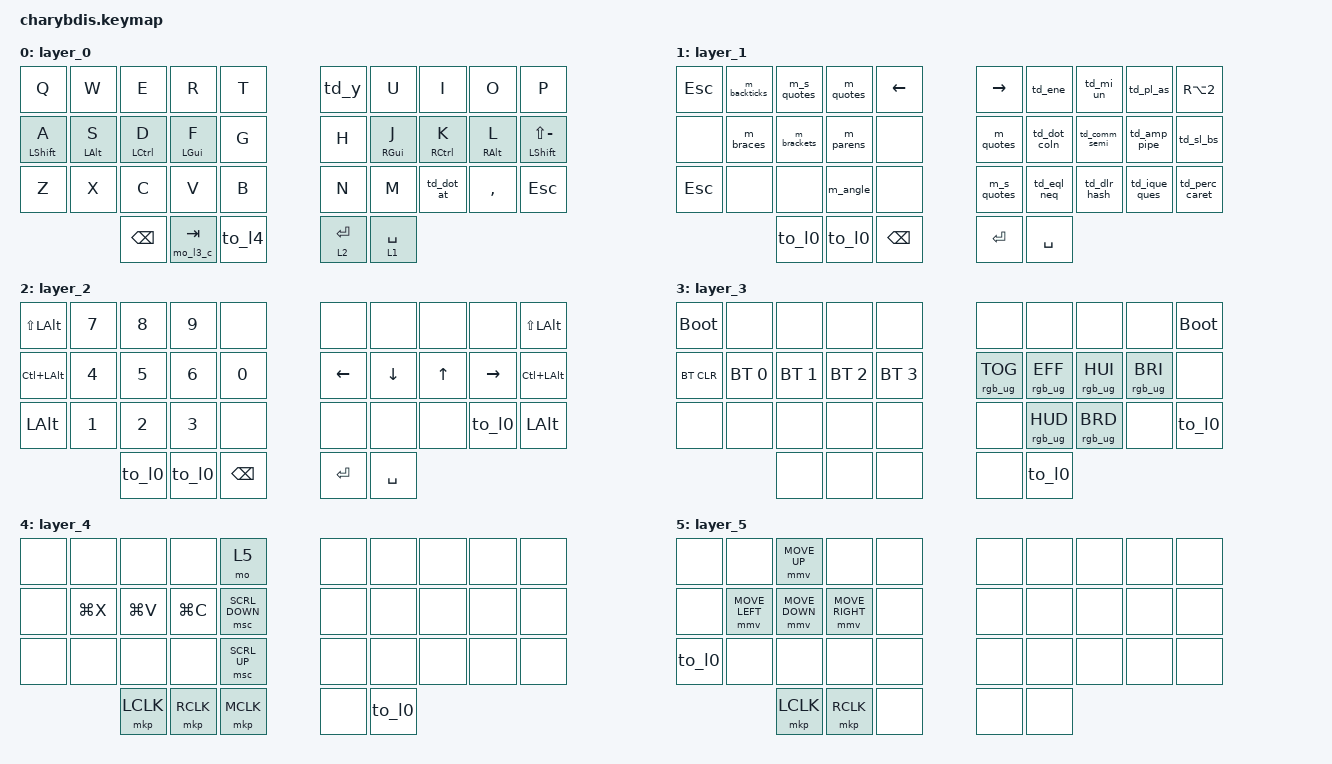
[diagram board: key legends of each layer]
#include <behaviors.dtsi>
#include <dt-bindings/zmk/bt.h>
#include <dt-bindings/zmk/keys.h>
#include <dt-bindings/zmk/rgb.h>
#include <dt-bindings/zmk/mouse.h>

/* --- COLORES --- */
#define LILA      280
#define AZUL      240
#define ROJO      0
#define AMARILLO  60
#define VERDE     120

/* --- DEFINICIONES MAC ESPAÑOL --- */
#define ES_CARET  LS(LBKT)
#define ES_PERC   LS(N5)
#define ES_TILDE  RA(SEMI)
#define ES_ACUTE  SQT
#define ES_AT     RA(N2)
#define ES_SEMI   LS(COMMA)
#define ES_EQL    LS(N0)
#define ES_PIPE   RA(N1)
#define ES_SLSH   LS(N7)
#define ES_UNDS   LS(SLASH)
#define ES_HASH   RA(N3)
#define ES_EXCL   LS(N1)
#define ES_COLN   LS(DOT)
#define ES_DOT    DOT
#define ES_COMM   COMMA
#define ES_AMPS   LS(N6)
#define ES_MINS   SLASH
#define ES_PLUS   RBKT
#define ES_ASTR   LS(RBKT)
#define ES_LPAR   LS(N8)
#define ES_RPAR   LS(N9)
#define ES_LABK   GRAVE
#define ES_RABK   LS(GRAVE)
#define ES_QUES   LS(MINUS)
#define ES_BSLH   RA(LS(N7))
#define ES_DLR    LS(N4)
#define ES_IQUE   LS(EQUAL)

/ {
    macros {
        to_l1: to_l1 {
            compatible = "zmk,behavior-macro";
            #binding-cells = <0>;
            bindings
                = <&macro_tap>, <&to 1>
                , <&macro_wait_time 30>
                , <&macro_tap>, <&rgb_ug RGB_COLOR_HSB(AZUL,100,50)>;
        };

        to_l2: to_l2 {
            compatible = "zmk,behavior-macro";
            #binding-cells = <0>;
            bindings
                = <&macro_tap>, <&to 2>
                , <&macro_wait_time 30>
                , <&macro_tap>, <&rgb_ug RGB_COLOR_HSB(ROJO,100,50)>;
        };

        to_l3: to_l3 {
            compatible = "zmk,behavior-macro";
            #binding-cells = <0>;
            bindings
                = <&macro_tap>, <&to 3>
                , <&macro_wait_time 30>
                , <&macro_tap>, <&rgb_ug RGB_COLOR_HSB(AMARILLO,100,50)>;
        };

        to_l4: to_l4 {
            compatible = "zmk,behavior-macro";
            #binding-cells = <0>;
            bindings
                = <&macro_tap>, <&to 4>
                , <&macro_wait_time 30>
                , <&macro_tap>, <&rgb_ug RGB_COLOR_HSB(VERDE,100,50)>;
        };

        to_l0: to_l0 {
            compatible = "zmk,behavior-macro";
            #binding-cells = <0>;
            bindings
                = <&macro_tap>, <&to 0>
                , <&macro_wait_time 30>
                , <&macro_tap>, <&rgb_ug RGB_COLOR_HSB(LILA,100,50)>;
        };

        /* --- Macros momentaneos con cambio de color CORREGIDOS --- */
        mo_l1_c: mo_l1_c {
            compatible = "zmk,behavior-macro";
            #binding-cells = <0>;
            bindings
                = <&macro_tap>, <&rgb_ug RGB_COLOR_HSB(AZUL,100,50)>
                , <&macro_press>, <&mo 1>
                , <&macro_pause_for_release>
                , <&macro_release>, <&mo 1>
                , <&macro_tap>, <&rgb_ug RGB_COLOR_HSB(LILA,100,50)>;
        };

        mo_l2_c: mo_l2_c {
            compatible = "zmk,behavior-macro";
            #binding-cells = <0>;
            bindings
                = <&macro_tap>, <&rgb_ug RGB_COLOR_HSB(ROJO,100,50)>
                , <&macro_press>, <&mo 2>
                , <&macro_pause_for_release>
                , <&macro_release>, <&mo 2>
                , <&macro_tap>, <&rgb_ug RGB_COLOR_HSB(LILA,100,50)>;
        };

        mo_l3_c: mo_l3_c {
            compatible = "zmk,behavior-macro";
            #binding-cells = <0>;
            bindings
                = <&macro_tap>, <&rgb_ug RGB_COLOR_HSB(AMARILLO,100,50)>
                , <&macro_press>, <&mo 3>
                , <&macro_pause_for_release>
                , <&macro_release>, <&mo 3>
                , <&macro_tap>, <&rgb_ug RGB_COLOR_HSB(LILA,100,50)>;
        };

        mo_l4_c: mo_l4_c {
            compatible = "zmk,behavior-macro";
            #binding-cells = <0>;
            bindings
                = <&macro_tap>, <&rgb_ug RGB_COLOR_HSB(VERDE,100,50)>
                , <&macro_press>, <&mo 4>
                , <&macro_pause_for_release>
                , <&macro_release>, <&mo 4>
                , <&macro_tap>, <&rgb_ug RGB_COLOR_HSB(LILA,100,50)>;
        };

        m_angle:     m_angle     { compatible = "zmk,behavior-macro"; #binding-cells = <0>; bindings = <&kp ES_LABK>, <&kp ES_RABK>, <&kp LEFT>; };
        m_parens:    m_parens    { compatible = "zmk,behavior-macro"; #binding-cells = <0>; bindings = <&kp ES_LPAR>, <&kp ES_RPAR>, <&kp LEFT>; };
        m_braces:    m_braces    { compatible = "zmk,behavior-macro"; #binding-cells = <0>; bindings = <&kp RA(LBKT)>, <&kp RA(RBKT)>, <&kp LEFT>; };
        m_brackets:  m_brackets  { compatible = "zmk,behavior-macro"; #binding-cells = <0>; bindings = <&kp RA(SQT)>, <&kp RA(BSLH)>, <&kp LEFT>; };
        m_quotes:    m_quotes    { compatible = "zmk,behavior-macro"; #binding-cells = <0>; bindings = <&kp LS(N2)>, <&kp LS(N2)>, <&kp LEFT>; };
        m_s_quotes:  m_s_quotes  { compatible = "zmk,behavior-macro"; #binding-cells = <0>; bindings = <&kp SQT>, <&kp SQT>, <&kp LEFT>; };
        m_backticks: m_backticks { compatible = "zmk,behavior-macro"; #binding-cells = <0>; bindings = <&kp LS(LBKT)>, <&kp LS(LBKT)>, <&kp LEFT>; };
    };

    behaviors {
        hm: homerow_mods {
            compatible = "zmk,behavior-hold-tap";
            #binding-cells = <2>;
            flavor = "tap-preferred";
            tapping-term-ms = <200>;
            quick-tap-ms = <160>;
            require-prior-idle-ms = <120>;
            bindings = <&kp>, <&kp>;
        };

        hm_shift: homerow_mods_shift {
            compatible = "zmk,behavior-hold-tap";
            #binding-cells = <2>;
            flavor = "tap-preferred";
            tapping-term-ms = <200>;
            quick-tap-ms = <140>;
            require-prior-idle-ms = <150>;
            bindings = <&kp>, <&kp>;
        };

        /* --- Hold-taps momentaneos CORREGIDOS: más rápidos (120ms) + retro-tap --- */
        lt_c1: lt_colored_1 {
            compatible = "zmk,behavior-hold-tap";
            #binding-cells = <2>;
            flavor = "balanced";
            tapping-term-ms = <120>;
            quick-tap-ms = <125>;
            retro-tap;
            bindings = <&mo_l1_c>, <&kp>;
        };

        lt_c2: lt_colored_2 {
            compatible = "zmk,behavior-hold-tap";
            #binding-cells = <2>;
            flavor = "balanced";
            tapping-term-ms = <120>;
            quick-tap-ms = <125>;
            retro-tap;
            bindings = <&mo_l2_c>, <&kp>;
        };

        ht_l3: ht_layer3 {
            compatible = "zmk,behavior-hold-tap";
            #binding-cells = <2>;
            flavor = "balanced";
            tapping-term-ms = <120>;
            quick-tap-ms = <125>;
            retro-tap;
            bindings = <&mo_l3_c>, <&kp>;
        };

        ht_l4: ht_layer4 {
            compatible = "zmk,behavior-hold-tap";
            #binding-cells = <2>;
            flavor = "balanced";
            tapping-term-ms = <120>;
            quick-tap-ms = <125>;
            retro-tap;
            bindings = <&mo_l4_c>, <&kp>;
        };

        td_dot_at:     td_dot_at     { compatible = "zmk,behavior-tap-dance"; #binding-cells = <0>; tapping-term-ms = <150>; bindings = <&kp ES_DOT>,  <&kp ES_AT>;    };
        td_perc_caret: td_perc_caret { compatible = "zmk,behavior-tap-dance"; #binding-cells = <0>; tapping-term-ms = <150>; bindings = <&kp ES_PERC>, <&kp ES_CARET>; };
        td_dot_coln:   td_dot_coln   { compatible = "zmk,behavior-tap-dance"; #binding-cells = <0>; tapping-term-ms = <150>; bindings = <&kp ES_DOT>,  <&kp ES_COLN>;  };
        td_comm_semi:  td_comm_semi  { compatible = "zmk,behavior-tap-dance"; #binding-cells = <0>; tapping-term-ms = <150>; bindings = <&kp ES_COMM>, <&kp ES_SEMI>;  };
        td_mi_un:      td_mi_un      { compatible = "zmk,behavior-tap-dance"; #binding-cells = <0>; tapping-term-ms = <150>; bindings = <&kp ES_UNDS>, <&kp ES_MINS>;  };
        td_sl_bs:      td_sl_bs      { compatible = "zmk,behavior-tap-dance"; #binding-cells = <0>; tapping-term-ms = <150>; bindings = <&kp ES_SLSH>, <&kp ES_BSLH>;  };
        td_pl_as:      td_pl_as      { compatible = "zmk,behavior-tap-dance"; #binding-cells = <0>; tapping-term-ms = <150>; bindings = <&kp ES_PLUS>, <&kp ES_ASTR>;  };
        td_amp_pipe:   td_amp_pipe   { compatible = "zmk,behavior-tap-dance"; #binding-cells = <0>; tapping-term-ms = <150>; bindings = <&kp ES_AMPS>, <&kp ES_PIPE>;  };
        td_eql_neq:    td_eql_neq    { compatible = "zmk,behavior-tap-dance"; #binding-cells = <0>; tapping-term-ms = <150>; bindings = <&kp ES_EQL>,  <&kp ES_EXCL>;  };
        td_dlr_hash:   td_dlr_hash   { compatible = "zmk,behavior-tap-dance"; #binding-cells = <0>; tapping-term-ms = <150>; bindings = <&kp ES_DLR>,  <&kp ES_HASH>;  };
        td_ique_ques:  td_ique_ques  { compatible = "zmk,behavior-tap-dance"; #binding-cells = <0>; tapping-term-ms = <150>; bindings = <&kp ES_QUES>, <&kp ES_IQUE>;  };
        td_ene:        td_ene        { compatible = "zmk,behavior-tap-dance"; #binding-cells = <0>; tapping-term-ms = <150>; bindings = <&kp SEMI>,    <&kp ES_TILDE>; };
        td_y:          td_y          { compatible = "zmk,behavior-tap-dance"; #binding-cells = <0>; tapping-term-ms = <150>; bindings = <&kp Y>,       <&kp ES_ACUTE>; };
        td_u_comm:     td_u_comm     { compatible = "zmk,behavior-tap-dance"; #binding-cells = <0>; tapping-term-ms = <150>; bindings = <&kp U>,       <&kp ES_COMM>;  };
    };

    keymap {
        compatible = "zmk,keymap";

        layer_0 {
            bindings = <
            &kp Q                &kp W            &kp E            &kp R             &kp T                 &td_y             &kp U             &kp I             &kp O             &kp P
            &hm_shift LSHFT A    &hm LALT S       &hm LCTRL D      &hm LGUI F        &kp G                 &kp H             &hm RGUI J        &hm RCTRL K       &hm RALT L        &hm_shift LSHFT ES_QUES
            &kp Z                &kp X            &kp C            &kp V             &kp B                 &kp N             &kp M             &td_dot_at        &kp ES_COMM       &kp ESC
                                                  &kp BSPC         &ht_l3 0 TAB      &to_l4                &lt 2 RET         &lt 1 SPACE
            >;
        };

        layer_1 {
            bindings = <
            &kp ESC                &m_backticks     &m_s_quotes      &m_quotes         &kp LEFT              &kp RIGHT         &td_ene           &td_mi_un         &td_pl_as         &kp ES_AT
            &none                &m_braces        &m_brackets      &m_parens         &none                 &m_quotes         &td_dot_coln      &td_comm_semi     &td_amp_pipe      &td_sl_bs
            &kp ESC              &none            &none            &m_angle          &none                 &m_s_quotes       &td_eql_neq       &td_dlr_hash      &td_ique_ques     &td_perc_caret
                                                  &to_l0           &to_l0            &kp BSPC              &kp RET           &kp SPACE
            >;
        };

        layer_2 {
            bindings = <
            &kp LS(LALT)         &kp N7           &kp N8           &kp N9            &none                 &none             &none             &none             &none             &kp LS(LALT)
            &kp LC(LALT)         &kp N4           &kp N5           &kp N6            &kp N0                &kp LEFT          &kp DOWN          &kp UP            &kp RIGHT         &kp LC(LALT)
            &kp LALT             &kp N1           &kp N2           &kp N3            &none                 &none             &none             &none             &to_l0            &kp LALT
                                                  &to_l0           &to_l0            &kp BSPC              &kp RET           &kp SPACE
            >;
        };

        layer_3 {
            bindings = <
            &bootloader          &none            &none            &none             &none                 &none             &none             &none             &none             &bootloader
            &bt BT_CLR           &bt BT_SEL 0     &bt BT_SEL 1     &bt BT_SEL 2      &bt BT_SEL 3          &rgb_ug RGB_TOG   &rgb_ug RGB_EFF   &rgb_ug RGB_HUI   &rgb_ug RGB_BRI   &none
            &none                &none            &none            &none             &none                 &none             &rgb_ug RGB_HUD   &rgb_ug RGB_BRD   &none             &to_l0
                                                  &none            &none             &none                 &none             &to_l0
            >;
        };

        layer_4 {
            bindings = <
            &none                &none            &none            &none             &mo 5                 &none             &none             &none             &none             &none
            &none                &kp LG(X)        &kp LG(V)        &kp LG(C)         &msc SCRL_DOWN        &none             &none             &none             &none             &none
            &none                &none            &none            &none             &msc SCRL_UP          &none             &none             &none             &none             &none
                                                  &mkp LCLK        &mkp RCLK         &mkp MCLK             &none             &to_l0
            >;
        };

        layer_5 {
            bindings = <
            &none                &none            &mmv MOVE_UP     &none             &none                 &none             &none             &none             &none             &none
            &none                &mmv MOVE_LEFT   &mmv MOVE_DOWN   &mmv MOVE_RIGHT   &none                 &none             &none             &none             &none             &none
            &to_l0               &none            &none            &none             &none                 &none             &none             &none             &none             &none
                                                  &mkp LCLK        &mkp RCLK         &none                 &none             &none
            >;
        };
    };
};
